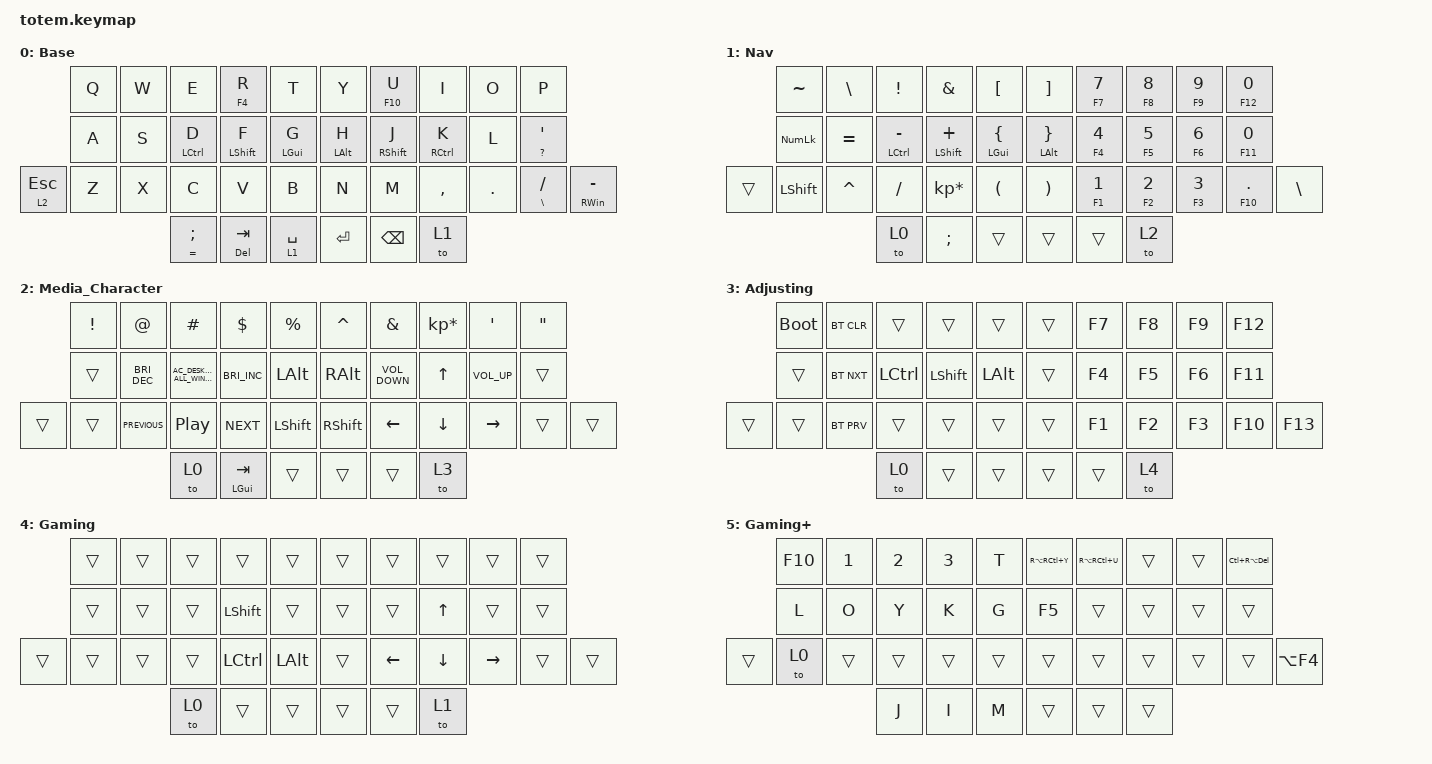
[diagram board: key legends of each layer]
//
//                                                        ▀▀▀▀▀     ▀▀▀▀▀          ▀▀█▀▀
//                                                        ▄▀▀▀▄  ▄  ▄▀▀▀▄  ▄  ▄▀▀▀▄  █  ▄▀▀▀▄
//                                                        █   █  █  █   █  █  █   █  █  █   █
//                                                         ▀▀▀   █   ▀▀▀   █   ▀▀▀   ▀   ▀▀▀
//                                                               █      ▄▄▄█▄▄▄    █   █  
//                                                               ▀      █  █  █     █▄█
//                                                             ▀▀▀▀▀    █  █  █      ▀
//                                                                      ▀  ▀  ▀
//
// ▄▄▄▄▄▄▄▄▄▄▄▄▄▄▄▄▄▄▄▄▄▄▄▄▄▄▄▄▄▄▄▄▄▄▄▄▄▄▄▄▄▄▄▄▄▄▄▄▄▄▄▄▄▄▄▄▄▄▄▄▄▄▄▄▄▄▄▄▄▄▄▄▄▄▄▄▄▄▄▄▄▄▄▄▄▄▄▄▄▄▄▄▄▄▄▄▄▄▄▄▄▄▄▄▄▄▄▄▄▄▄▄▄▄▄▄▄▄▄▄▄▄▄▄▄▄▄▄▄▄▄▄▄▄▄▄▄▄▄▄▄▄▄▄▄▄▄▄▄

#include <dt-bindings/zmk/mouse.h>
#include <behaviors.dtsi>
#include <dt-bindings/zmk/bt.h>
#include <dt-bindings/zmk/keys.h>

#define Base        0
#define Media       1
#define Nav         2
#define Mouse       3
#define Sym         4
#define Num         5
#define Fun         6
#define Button      7
#define Game        8
#define Gameplus    9

&mt {
    quick-tap-ms = <125>;
    global-quick-tap;
    flavor = "tap-preferred";
};

&lt {
    tapping-term-ms = <240>;
    flavor = "balanced";
    quick-tap-ms = <150>;
};

/ {
    behaviors {
        hm: homerow_mods {
            compatible = "zmk,behavior-hold-tap";
            label = "HOMEROW_MODS";
            #binding-cells = <2>;
            flavor = "tap-preferred";
            tapping-term-ms = <200>;
            quick-tap-ms = <120>;
            global-quick-tap;
            bindings = <&kp>, <&kp>;
        };
    };

    combos {
        compatible = "zmk,combos";

        Copy {
            bindings = <&kp LC(C)>;
            key-positions = <23 22>;
        };

        Paste {
            bindings = <&kp LC(V)>;
            key-positions = <24 23>;
        };

        Undo {
            bindings = <&kp LC(Z)>;
            key-positions = <22 21>;
        };

        PrintScreen {
            bindings = <&kp PRINTSCREEN>;
            key-positions = <32 37>;
        };

        tab {
            bindings = <&kp TAB>;
            key-positions = <16 17>;
        };

        Windows {
            bindings = <&kp LEFT_GUI>;
            key-positions = <16 17 18>;
        };

        Control {
            bindings = <&kp LEFT_CONTROL>;
            key-positions = <17 18 19>;
        };

        up {
            bindings = <&kp UP_ARROW>;
            key-positions = <11 12 13>;
        };

        down {
            bindings = <&kp DOWN>;
            key-positions = <22 23 24>;
        };

        right {
            bindings = <&kp RIGHT>;
            key-positions = <12 13>;
        };

        left {
            bindings = <&kp LEFT>;
            key-positions = <11 12>;
        };

        ChangeLanguage {
            bindings = <&kp LG(SPACE)>;
            key-positions = <33 36>;
        };

        email {
            bindings = <&SchoolEmail>;
            key-positions = <12 13 16 17>;
        };

        personalemail {
            bindings = <&PersonalEmail>;
            key-positions = <11 13 16 18>;
        };

        semicolon {
            bindings = <&kp SEMICOLON>;
            key-positions = <12 17>;
        };
    };

    macros {
        SchoolEmail: email {
            compatible = "zmk,behavior-macro";
            #binding-cells = <0>;
            bindings = <&kp A &kp Y &kp N2 &kp N6 &kp N6 &kp N8 &kp AT &kp C &kp O &kp L &kp U &kp M &kp B &kp I &kp A &kp DOT &kp E &kp D &kp U>;
            label = "EMAIL";
        };

        PersonalEmail: PersonalEmail {
            compatible = "zmk,behavior-macro";
            #binding-cells = <0>;
            bindings = <&kp A &kp K &kp T &kp N1 &kp N2 &kp N1 &kp N5 &kp N8 &kp N0 &kp N1 &kp A &kp C &kp A &kp D &kp E &kp M &kp I &kp C &kp AT &kp G &kp M &kp A &kp I &kp L &kp DOT &kp C &kp O &kp M>;
            label = "PERSONALEMAIL";
        };
    };

    keymap {
        compatible = "zmk,keymap";

        Base {
            label = "Base";
            bindings = <
           &kp Q  &kp W  &kp E                &mt F4 R        &kp T             &kp Y           &mt F10 U      &kp I        &kp O    &kp P
           &kp A  &kp S  &hm LCTRL D          &hm LSHIFT F    &hm LEFT_GUI G    &hm LEFT_ALT H  &hm RSHFT J    &hm RCTRL K  &kp L    &hm QUESTION SQT
&lt 2 ESC  &kp Z  &kp X  &kp C                &kp V           &kp B             &kp N           &kp M          &kp COMMA    &kp DOT  &mt BACKSLASH SLASH  &mt RIGHT_WIN MINUS
                         &mt EQUAL SEMICOLON  &mt DELETE TAB  &lt 1 SPACE       &kp ENTER       &kp BACKSPACE  &to 1
            >;
        };

        Nav {
            label = "Nav";
            bindings = <
        &kp TILDE       &kp BACKSLASH  &kp EXCLAMATION         &kp AMPERSAND        &kp LEFT_BRACKET           &kp RIGHT_BRACKET         &mt F7 N7        &mt F8 N8        &mt F9 N9        &mt F12 N0
        &kp KP_NUM      &kp EQUAL      &hm LEFT_CONTROL MINUS  &hm LEFT_SHIFT PLUS  &hm LEFT_GUI LEFT_BRACE    &hm LEFT_ALT RIGHT_BRACE  &mt F4 NUMBER_4  &mt F5 N5        &mt F6 NUMBER_6  &mt F11 N0
&trans  &kp LEFT_SHIFT  &kp CARET      &kp SLASH               &kp KP_MULTIPLY      &kp LPAR                   &kp RPAR                  &mt F1 NUMBER_1  &mt F2 NUMBER_2  &mt F3 NUMBER_3  &mt F10 PERIOD  &kp BACKSLASH
                                       &to 0                   &kp SEMICOLON        &trans                     &trans                    &trans           &to 2
            >;
        };

        Media_Character {
            label = "Media_Character";
            bindings = <
        &kp EXCL  &kp AT                &kp HASH                           &kp DOLLAR            &kp PERCENT       &kp CARET        &kp AMPERSAND      &kp KP_ASTERISK  &kp SQT       &kp DQT
        &trans    &kp C_BRIGHTNESS_DEC  &kp C_AC_DESKTOP_SHOW_ALL_WINDOWS  &kp C_BRIGHTNESS_INC  &kp LEFT_ALT      &kp RIGHT_ALT    &kp K_VOLUME_DOWN  &kp UP           &kp K_VOL_UP  &trans
&trans  &trans    &kp C_PREVIOUS        &kp C_PLAY_PAUSE                   &kp C_NEXT            &kp LEFT_SHIFT    &kp RIGHT_SHIFT  &kp LEFT           &kp DOWN         &kp RIGHT     &trans   &trans
                                        &to 0                              &mt LEFT_GUI TAB      &trans            &trans           &trans             &to 3
            >;
        };

        Adjusting {
            label = "Adjusting";
            bindings = <
        &bootloader  &bt BT_CLR  &trans            &trans          &trans          &trans  &kp F7  &kp F8  &kp F9  &kp F12
        &trans       &bt BT_NXT  &kp LEFT_CONTROL  &kp LEFT_SHIFT  &kp LEFT_ALT    &trans  &kp F4  &kp F5  &kp F6  &kp F11
&trans  &trans       &bt BT_PRV  &trans            &trans          &trans          &trans  &kp F1  &kp F2  &kp F3  &kp F10  &kp F13
                                 &to 0             &trans          &trans          &trans  &trans  &to 4
            >;
        };

        Gaming {
            bindings = <
        &trans  &trans  &trans  &trans            &trans          &trans  &trans    &trans    &trans     &trans
        &trans  &trans  &trans  &kp LEFT_SHIFT    &trans          &trans  &trans    &kp UP    &trans     &trans
&trans  &trans  &trans  &trans  &kp LEFT_CONTROL  &kp LEFT_ALT    &trans  &kp LEFT  &kp DOWN  &kp RIGHT  &trans  &trans
                        &to 0   &trans            &trans          &trans  &trans    &to 1
            >;

            label = "Gaming";
        };

        Gaming+ {
            bindings = <
        &kp F10  &kp NUMBER_1  &kp NUMBER_2  &kp NUMBER_3  &kp T     &kp RA(RC(Y))  &kp RA(RC(U))  &trans  &trans  &kp LC(RA(DEL))
        &kp L    &kp O         &kp Y         &kp K         &kp G     &kp F5         &trans         &trans  &trans  &trans
&trans  &to 0    &trans        &trans        &trans        &trans    &trans         &trans         &trans  &trans  &trans           &kp LA(F4)
                               &kp J         &kp I         &kp M     &trans         &trans         &trans
            >;

            label = "Gaming+";
        };
    };
};
